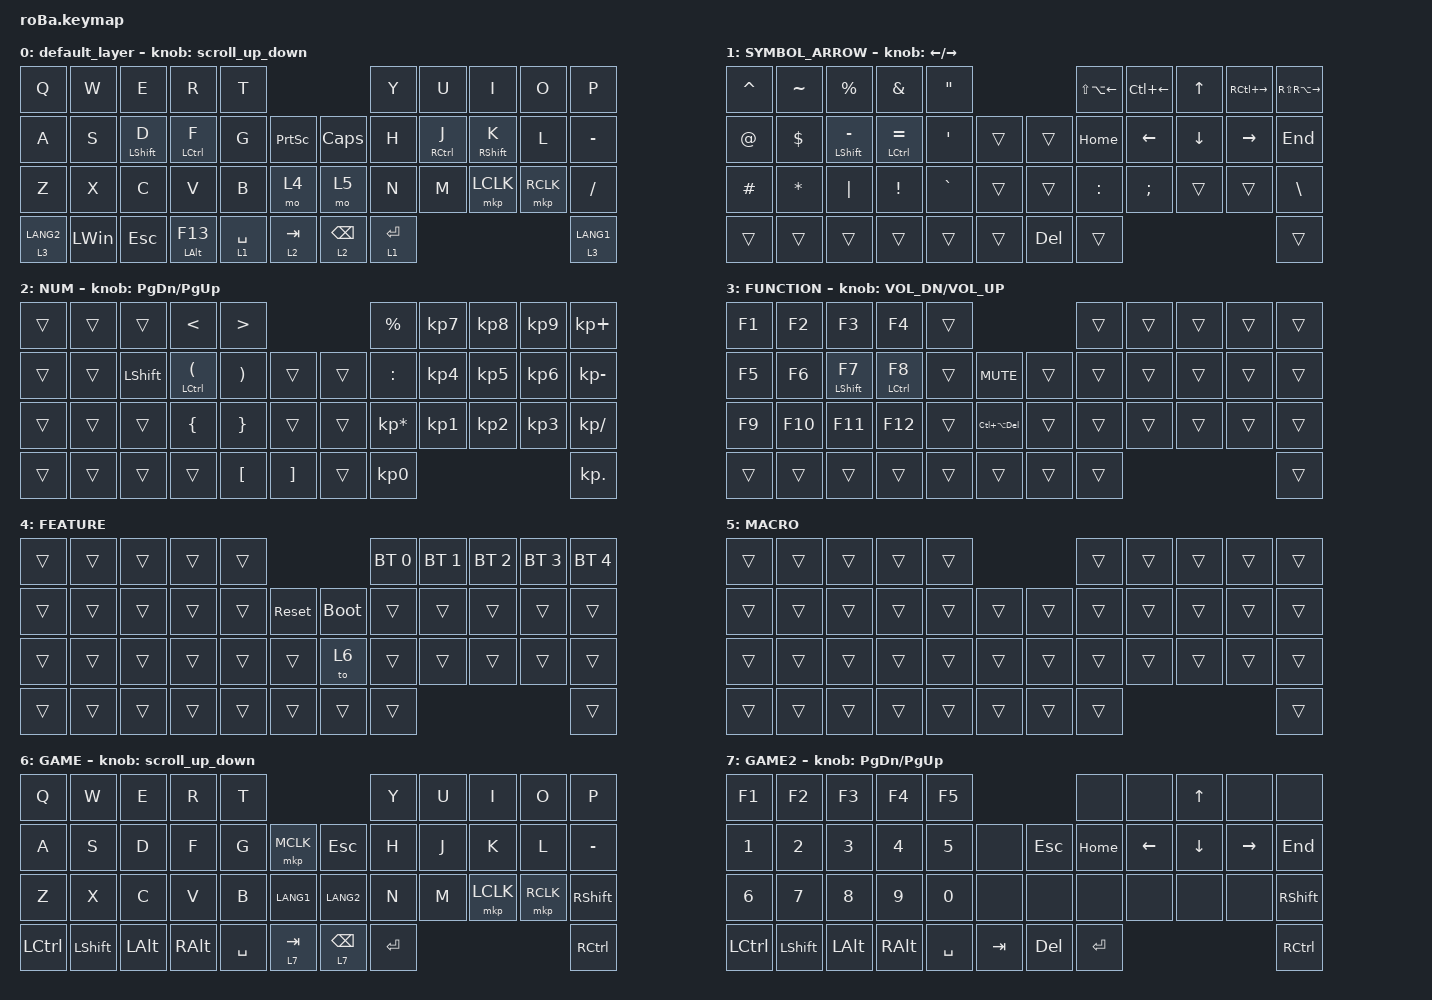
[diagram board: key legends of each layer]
#include <behaviors.dtsi>
#include <dt-bindings/zmk/bt.h>
#include <dt-bindings/zmk/keys.h>
#include <dt-bindings/zmk/pointing.h>

#define ZMK_POINTING_DEFAULT_SCRL_VAL 120
#define MOUSE 4
#define SCROLL 5
#define NUM 6

&mt {
    flavor = "tap-preferred";
    quick-tap-ms = <0>;
    require-prior-idle-ms = <125>;
};

&lt {
    quick-tap-ms = <200>;
    require-prior-idle-ms = <125>;
    flavor = "balanced";
};

/ {
    combos {
        compatible = "zmk,combos";

        middleClick {
            bindings = <&mkp MCLK>;
            key-positions = <31 32>;
        };

        coron {
            bindings = <&kp COLON>;
            key-positions = <14 26>;
        };

        semicoron {
            bindings = <&kp SEMICOLON>;
            key-positions = <17 29>;
        };

        comma {
            bindings = <&kp COMMA>;
            key-positions = <4 14>;
        };

        period {
            bindings = <&kp PERIOD>;
            key-positions = <5 17>;
        };

        to_layer0 {
            bindings = <&to 0>;
            key-positions = <27 28>;
        };
    };

    macros {
        to_layer_0: to_layer_0 {
            compatible = "zmk,behavior-macro-one-param";
            #binding-cells = <1>;
            bindings = <&to 0 &macro_param_1to1 &kp MACRO_PLACEHOLDER>;
            label = "TO_LAYER_0";
        };
    };

    behaviors {
        lt_to_layer_0: lt_to_layer_0 {
            compatible = "zmk,behavior-hold-tap";
            label = "LAYER_TAP_TO_0";
            bindings = <&mo>, <&to_layer_0>;

            #binding-cells = <2>;
            tapping-term-ms = <200>;
        };

        scroll_up_down: mouse_wheel_up_down {
            compatible = "zmk,behavior-sensor-rotate";
            label = "SCROLL_UP_DOWN";
            #sensor-binding-cells = <0>;
            bindings = <&msc SCRL_DOWN>, <&msc SCRL_UP>;

            tap-ms = <20>;
        };
    };

    keymap {
        compatible = "zmk,keymap";

        default_layer {
            bindings = <
&kp Q        &kp W         &kp E             &kp R               &kp T                                              &kp Y        &kp U                &kp I              &kp O      &kp P
&kp A        &kp S         &mt LEFT_SHIFT D  &mt LEFT_CONTROL F  &kp G        &kp PRINTSCREEN      &kp CAPSLOCK     &kp H        &mt RIGHT_CONTROL J  &mt RIGHT_SHIFT K  &kp L      &kp MINUS
&kp Z        &kp X         &kp C             &kp V               &kp B        &mo 4                &mo 5            &kp N        &kp M                &mkp LCLK          &mkp RCLK  &kp SLASH
&lt 3 LANG2  &kp LEFT_WIN  &kp ESCAPE        &mt LEFT_ALT F13    &lt 1 SPACE  &lt 2 TAB            &lt 2 BACKSPACE  &lt 1 ENTER                                                     &lt 3 LANG1
            >;

            sensor-bindings = <&scroll_up_down>;
        };

        SYMBOL_ARROW {
            bindings = <
&kp CARET    &kp TILDE     &kp PERCENT           &kp AMPERSAND           &kp DOUBLE_QUOTES                          &kp LS(LA(LEFT))  &kp LC(LEFT)   &kp UP_ARROW  &kp RC(RIGHT)  &kp RS(RA(RIGHT))
&kp AT_SIGN  &kp DOLLAR    &mt LEFT_SHIFT MINUS  &mt LEFT_CONTROL EQUAL  &kp SINGLE_QUOTE   &trans      &trans      &kp HOME          &kp LEFT       &kp DOWN      &kp RIGHT      &kp END
&kp HASH     &kp ASTERISK  &kp PIPE              &kp EXCLAMATION         &kp GRAVE          &trans      &trans      &kp COLON         &kp SEMICOLON  &trans        &trans         &kp BACKSLASH
&trans       &trans        &trans                &trans                  &trans             &trans      &kp DELETE  &trans                                                        &trans
            >;

            sensor-bindings = <&inc_dec_kp LEFT RIGHT>;
        };

        NUM {
            bindings = <
&trans  &trans  &trans          &kp LESS_THAN                      &kp GREATER_THAN                                      &kp PERCENT      &kp KP_N7  &kp KP_N8  &kp KP_N9  &kp KP_PLUS
&trans  &trans  &kp LEFT_SHIFT  &mt LEFT_CONTROL LEFT_PARENTHESIS  &kp RIGHT_PARENTHESIS  &trans                 &trans  &kp COLON        &kp KP_N4  &kp KP_N5  &kp KP_N6  &kp KP_MINUS
&trans  &trans  &trans          &kp LEFT_BRACE                     &kp RIGHT_BRACE        &trans                 &trans  &kp KP_MULTIPLY  &kp KP_N1  &kp KP_N2  &kp KP_N3  &kp KP_SLASH
&trans  &trans  &trans          &trans                             &kp LEFT_BRACKET       &kp RIGHT_BRACKET      &trans  &kp KP_N0                                         &kp KP_DOT
            >;

            sensor-bindings = <&inc_dec_kp PAGE_DOWN PAGE_UP>;
        };

        FUNCTION {
            bindings = <
&kp F1  &kp F2   &kp F3             &kp F4               &trans                                  &trans  &trans  &trans  &trans  &trans
&kp F5  &kp F6   &mt LEFT_SHIFT F7  &mt LEFT_CONTROL F8  &trans  &kp C_MUTE              &trans  &trans  &trans  &trans  &trans  &trans
&kp F9  &kp F10  &kp F11            &kp F12              &trans  &kp LC(LA(DELETE))      &trans  &trans  &trans  &trans  &trans  &trans
&trans  &trans   &trans             &trans               &trans  &trans                  &trans  &trans                          &trans
            >;

            sensor-bindings = <&inc_dec_kp C_VOL_DN C_VOL_UP>;
        };

        FEATURE {
            bindings = <
&trans  &trans  &trans  &trans  &trans                               &bt BT_SEL 0  &bt BT_SEL 1  &bt BT_SEL 2  &bt BT_SEL 3  &bt BT_SEL 4
&trans  &trans  &trans  &trans  &trans  &sys_reset      &bootloader  &trans        &trans        &trans        &trans        &trans
&trans  &trans  &trans  &trans  &trans  &trans          &to 6        &trans        &trans        &trans        &trans        &trans
&trans  &trans  &trans  &trans  &trans  &trans          &trans       &trans                                                  &trans
            >;
        };

        MACRO {
            bindings = <
&trans  &trans  &trans  &trans  &trans                      &trans  &trans  &trans  &trans  &trans
&trans  &trans  &trans  &trans  &trans  &trans      &trans  &trans  &trans  &trans  &trans  &trans
&trans  &trans  &trans  &trans  &trans  &trans      &trans  &trans  &trans  &trans  &trans  &trans
&trans  &trans  &trans  &trans  &trans  &trans      &trans  &trans                          &trans
            >;
        };

        GAME {
            bindings = <
&kp Q             &kp W           &kp E         &kp R          &kp T                                      &kp Y      &kp U  &kp I      &kp O      &kp P
&kp A             &kp S           &kp D         &kp F          &kp G      &mkp MCLK      &kp ESCAPE       &kp H      &kp J  &kp K      &kp L      &kp MINUS
&kp Z             &kp X           &kp C         &kp V          &kp B      &kp LANG1      &kp LANG2        &kp N      &kp M  &mkp LCLK  &mkp RCLK  &kp RIGHT_SHIFT
&kp LEFT_CONTROL  &kp LEFT_SHIFT  &kp LEFT_ALT  &kp RIGHT_ALT  &kp SPACE  &lt 7 TAB      &lt 7 BACKSPACE  &kp ENTER                               &kp RIGHT_CONTROL
            >;

            sensor-bindings = <&scroll_up_down>;
        };

        GAME2 {
            bindings = <
&kp F1            &kp F2          &kp F3        &kp F4         &kp F5                              &none      &none           &kp UP_ARROW    &none            &none
&kp NUMBER_1      &kp NUMBER_2    &kp NUMBER_3  &kp NUMBER_4   &kp N5     &none        &kp ESCAPE  &kp HOME   &kp LEFT_ARROW  &kp DOWN_ARROW  &kp RIGHT_ARROW  &kp END
&kp NUMBER_6      &kp N7          &kp N8        &kp N9         &kp N0     &none        &none       &none      &none           &none           &none            &kp RIGHT_SHIFT
&kp LEFT_CONTROL  &kp LEFT_SHIFT  &kp LEFT_ALT  &kp RIGHT_ALT  &kp SPACE  &kp TAB      &kp DELETE  &kp ENTER                                                   &kp RIGHT_CONTROL
            >;

            sensor-bindings = <&inc_dec_kp PAGE_DOWN PAGE_UP>;
        };
    };
};
